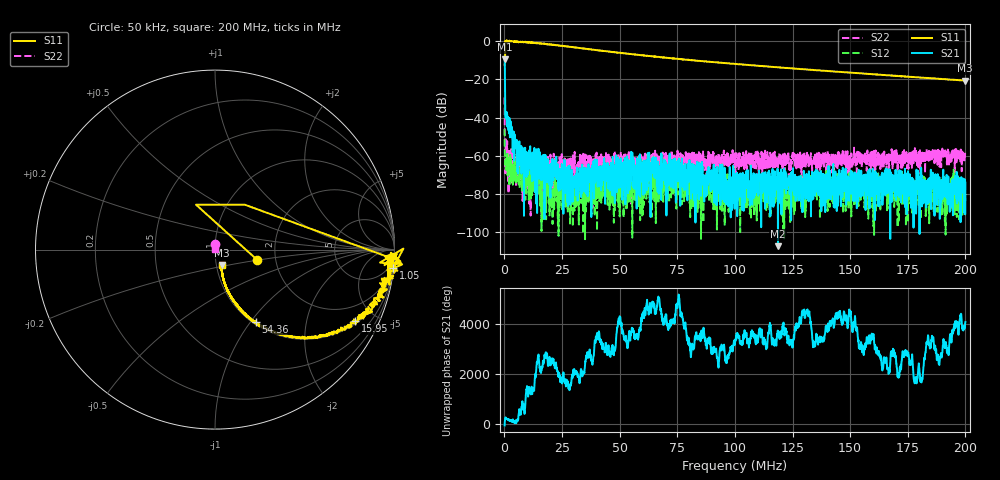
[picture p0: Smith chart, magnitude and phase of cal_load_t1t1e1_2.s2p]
! 26-Feb-26 1:47:53 PM
! E:\VNA_MEASUREMENTS\CAL_S11\CAL_LOAD_T1T1E1_2.S2P
! CHANNEL.1
! TR.MEASUREMENT
! CORRECTED.DATA
# GHZ S RI R 50.0
! FREQ.GHZ  S11RE  S11IM  S21RE  S21IM  S12RE  S12IM  S22RE  S22IM
!; PortSelection: Port_12
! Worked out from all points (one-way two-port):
!   2000 points, 50 kHz to 200 MHz, reference 50 ohm
!   highest |S21| = -9.37 dB at 50 kHz (marker M1); lowest = -107.4 dB at 118.7 MHz (marker M2)
!   lowest |S11| = -20.6 dB at 199.9 MHz (marker M3), VSWR 1.20, Z = 53 - j9.12 ohm
!   |S11| at or under -10 dB: start of sweep to 254.3 kHz; 81.06847 MHz to 81.07299 MHz (4.524 kHz wide, 0.00558 % of centre); 82.12 MHz to end of sweep (the widest 3 of 4)
!   |S22| runs from -92.6 to -29.5 dB; largest |S21 - S12| = 0.34
!   S11 on the Smith chart (normalised r, x): 50 kHz: 1.60, -0.19; 1.05 MHz: 0, -19; 15.95 MHz: 1.11, -3.84; 54.36 MHz: 1.04, -1.06; 200 MHz: 1.06, -0.18
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5e-05  0.2338 -0.0563  0.2483 -0.2323  0.000907 -0.00492  0.00246 0.0336
0.00105025  0.992 -0.1033  -0.00888 -0.00751  0.000162 -0.000327  0.000629 -0.000428
0.00225055  0.9734 -0.08  -0.00637 0.00156  0.000586 -8.56e-05  -1.51e-05 0.000492
0.006651651  0.9332 -0.1985  -0.000447 0.000347  -0.000416 -0.000206  -0.000124 -0.00017
0.01595398  0.7802 -0.3996  0.000961 -6.21e-05  0.000114 0.000115  0.000181 0.00022
0.01955488  0.6852 -0.4517  -0.000164 4.03e-05  2.05e-05 1.79e-05  0.000512 0.000233
0.0216554  0.6497 -0.4678  -0.000496 2.65e-05  9.57e-05 4.02e-05  0.000798 0.000185
0.02455613  0.5934 -0.4784  0.000118 0.00013  0.000107 -2.2e-06  0.00041 6.42e-05
0.03345835  0.4384 -0.4846  6.69e-05 -7.86e-05  -2.64e-05 -0.000112  0.000939 0.000369
0.05436358  0.2261 -0.4015  -0.00074 -6.77e-05  0.000263 0.000107  0.00034 4.16e-05
0.06106526  0.1856 -0.3771  0.000102 3.04e-05  2.48e-05 0.000363  0.00111 0.000219
0.06496623  0.1687 -0.3628  -6.89e-05 0.00028  -0.000163 -0.000164  0.000687 0.000403
0.06676668  0.1603 -0.3549  0.000425 0.000365  -3.95e-05 3.82e-05  0.000816 0.000251
0.07246811  0.1407 -0.3286  -0.000491 -0.000217  0.000112 -0.000171  0.00124 0.000457
0.08727181  0.1023 -0.2796  6.93e-05 5.25e-05  8.07e-05 2.21e-05  0.000671 0.000436
0.09077269  0.0922 -0.2678  0.000562 -0.00017  7.49e-05 -2.82e-05  0.000587 0.000999
0.100075  0.0771 -0.2432  0.000131 0.00015  0.000107 1.37e-05  0.00101 0.000714
0.1186797  0.0576 -0.1992  4.2e-06 6e-07  5.16e-05 -4.66e-05  0.000325 0.000361
0.1333833  0.0483 -0.1711  5.7e-05 0.000235  -0.000181 9.4e-06  0.00047 0.000477
0.1666917  0.038 -0.1223  -0.000183 -8.67e-05  -7.8e-06 -6.64e-05  0.000454 0.000572
0.1999  0.037 -0.0853  9.6e-06 2.74e-05  9.15e-05 1.96e-05  0.000614 0.00101
0.2  0.0376 -0.0851  -6.88e-05 0.000183  2.62e-05 5.15e-05  0.000504 0.00117
